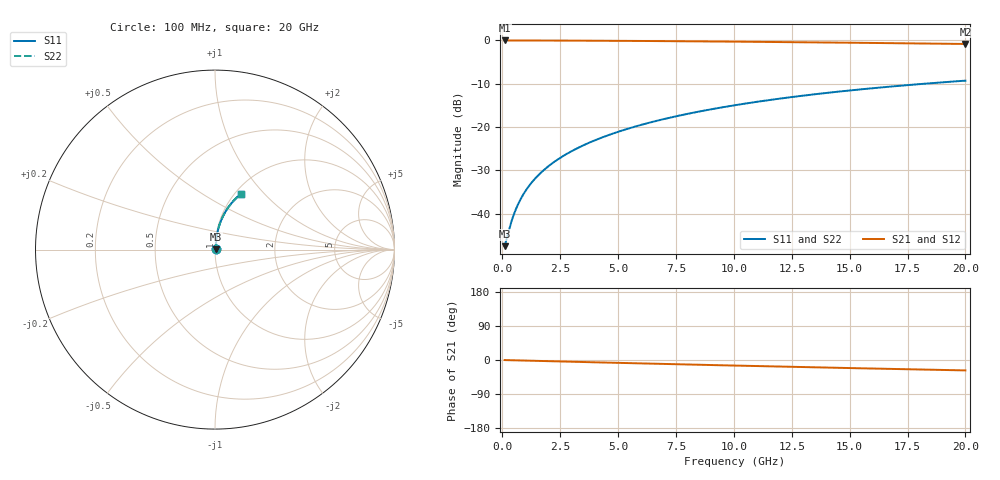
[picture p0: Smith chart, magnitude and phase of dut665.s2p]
! Touchstone file exported from HFSS 2024.1.0
!  File:  C:/UserFiles/LocalFiles/RDL_TSV_Batchsim/temp_RDL_top_665_1779781864.aedt
!  Generated:  03:53:17 PM May 26, 2026
!  Design:  RDL_top
!  Project:  temp_RDL_top_665_1779781864
!  Setup:  Setup1
!  Solution:  Sweep
! Variables:
!  dtsv = 10.80580581um
!  hbump = 3um
!  htsv = 66.65um
!  ldown = 100um
!  lrdl = 296.42um
!  p = 40
!  p1 = 54.48um
!  rhole = 1um
!  t = 450um
!  tdown = 3.915915916um
!  trdl = 2um
!  wdown = 15.38538539um
!  wrdl = 14.87um
# GHz S MA R 50.000000
! Terminal data exported
! Port[1] = Box2_T1
! Port[2] = Box2_T2
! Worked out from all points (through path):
!   200 points, 100 MHz to 20 GHz, reference 50 ohm
!   highest |S21| = -0.03 dB at 100 MHz (marker M1); lowest = -0.8 dB at 20 GHz (marker M2)
!   group delay of S21, straight-line fit = 3.81 ps
!   lowest |S11| = -47.5 dB at 100 MHz (marker M3), VSWR 1.01, Z = 50.4 + j0.184 ohm
!   |S11| at or under -10 dB: start of sweep to 18.25 GHz
!   |S22| runs from -47.5 to -9.3 dB; largest |S21 - S12| = 2.5e-15
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0.1  0.00424 25.5  0.9962 -0.2  0.9962 -0.2  0.00424 25.5
! Gamma 0 0 0 0
! Port Impedance 50 0 50 0
0.3  0.006697 54.1  0.9961 -0.5  0.9961 -0.5  0.006698 54.1
0.4  0.008238 61.1  0.996 -0.6  0.996 -0.6  0.008239 61.1
0.5  0.009859 65.7  0.9959 -0.8  0.9959 -0.8  0.00986 65.7
0.6  0.01152 69.0  0.9958 -0.9  0.9958 -0.9  0.01152 69.0
0.7  0.01321 71.4  0.9957 -1.1  0.9957 -1.1  0.01321 71.4
0.9  0.01662 74.7  0.9954 -1.4  0.9954 -1.4  0.01662 74.7
1.2  0.02176 77.5  0.995 -1.9  0.995 -1.9  0.02176 77.5
1.4  0.02519 78.8  0.9948 -2.2  0.9948 -2.2  0.02519 78.7
1.7  0.03035 80.0  0.9943 -2.6  0.9943 -2.6  0.03035 80.0
2.2  0.03897 81.3  0.9935 -3.4  0.9935 -3.4  0.03897 81.3
2.8  0.04938 82.1  0.9924 -4.3  0.9924 -4.3  0.04938 82.1
3.5  0.06162 82.4  0.9907 -5.3  0.9907 -5.3  0.06162 82.4
4.2  0.07397 82.4  0.9888 -6.4  0.9888 -6.4  0.07396 82.4
5  0.08818 82.1  0.9864 -7.6  0.9864 -7.6  0.08818 82.1
5.9  0.1043 81.6  0.9832 -8.9  0.9832 -8.9  0.1043 81.6
6.8  0.1205 80.9  0.9798 -10.2  0.9798 -10.2  0.1204 80.8
8.4  0.1492 79.3  0.973 -12.4  0.973 -12.4  0.1492 79.3
10.1  0.1797 77.3  0.965 -14.8  0.965 -14.8  0.1797 77.3
13.4  0.2372 73.3  0.9475 -19.2  0.9475 -19.2  0.2372 73.3
16.7  0.2919 69.1  0.9282 -23.4  0.9282 -23.4  0.2918 69.1
20  0.3428 65.0  0.9075 -27.5  0.9075 -27.5  0.3427 65.0
